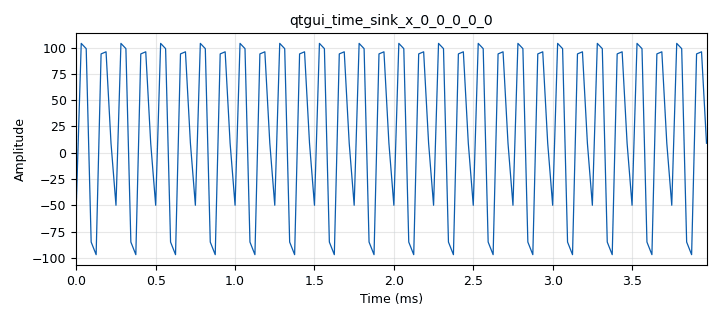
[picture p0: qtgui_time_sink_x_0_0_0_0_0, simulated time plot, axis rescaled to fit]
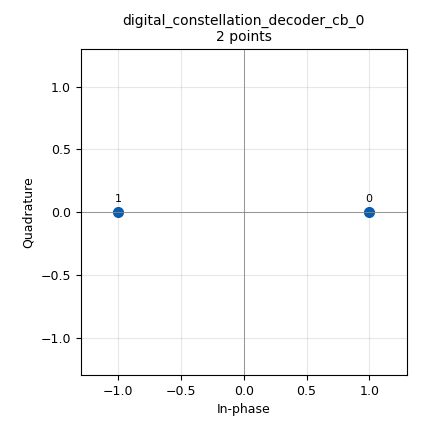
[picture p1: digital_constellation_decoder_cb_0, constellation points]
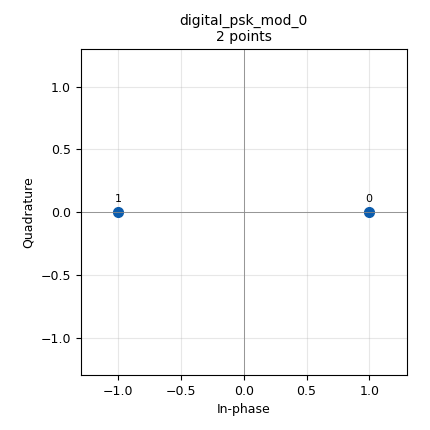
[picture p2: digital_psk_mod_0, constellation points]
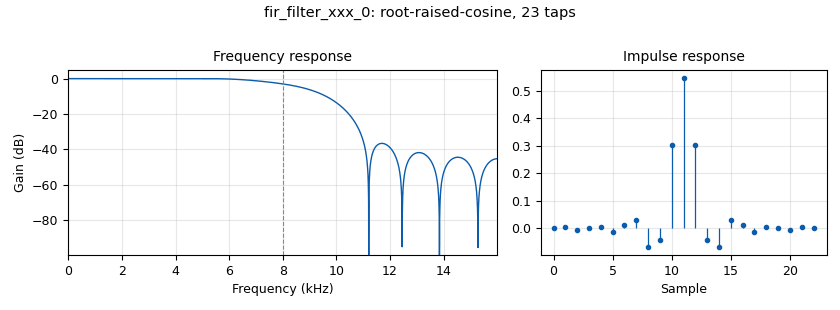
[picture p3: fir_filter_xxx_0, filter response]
<?xml version='1.0' encoding='utf-8'?>
<?grc format='1' created='3.7.8'?>
<flow_graph>
<block>
<key>options</key>
<param><key>id</key><value>top_block</value></param>
<param><key>generate_options</key><value>qt_gui</value></param>
<param><key>category</key><value>Custom</value></param>
</block>
<block>
<key>variable</key>
<param><key>id</key><value>delay</value></param>
<param><key>value</key><value>range_delay</value></param>
</block>
<block>
<key>variable</key>
<param><key>id</key><value>samp_rate</value></param>
<param><key>value</key><value>32000</value></param>
</block>
<block>
<key>variable_rrc_filter_taps</key>
<param><key>id</key><value>rrc</value></param>
<param><key>gain</key><value>1.0</value></param>
<param><key>samp_rate</key><value>samp_rate</value></param>
<param><key>sym_rate</key><value>samp_rate/2</value></param>
<param><key>alpha</key><value>0.35</value></param>
<param><key>ntaps</key><value>11*2</value></param>
</block>
<block>
<key>variable_qtgui_range</key>
<param><key>id</key><value>range_delay</value></param>
<param><key>value</key><value>1</value></param>
<param><key>start</key><value>0</value></param>
<param><key>stop</key><value>2</value></param>
<param><key>step</key><value>1</value></param>
<param><key>orient</key><value>Qt.Horizontal</value></param>
</block>
<block>
<key>digital_packet_headerparser_b</key>
<param><key>id</key><value>digital_packet_headerparser_b_0</value></param>
<param><key>header_formatter</key><value>digital.packet_header_default(32)</value></param>
</block>
<block>
<key>blocks_delay</key>
<param><key>id</key><value>blocks_delay_0</value></param>
<param><key>type</key><value>complex</value></param>
<param><key>delay</key><value>delay</value></param>
</block>
<block>
<key>blocks_complex_to_float</key>
<param><key>id</key><value>blocks_complex_to_float_0</value></param>
<param><key>_enabled</key><value>False</value></param>
</block>
<block>
<key>qtgui_time_sink_x</key>
<param><key>id</key><value>qtgui_time_sink_x_0</value></param>
<param><key>_enabled</key><value>False</value></param>
<param><key>type</key><value>float</value></param>
<param><key>size</key><value>1024</value></param>
<param><key>srate</key><value>samp_rate</value></param>
<param><key>nconnections</key><value>2</value></param>
<param><key>tr_mode</key><value>qtgui.TRIG_MODE_NORM</value></param>
<param><key>tr_level</key><value>0.5</value></param>
<param><key>tr_delay</key><value>0.001</value></param>
<param><key>label1</key><value></value></param>
<param><key>color1</key><value>"blue"</value></param>
<param><key>label2</key><value></value></param>
<param><key>color2</key><value>"red"</value></param>
</block>
<block>
<key>inets_frame_sync_cc</key>
<param><key>id</key><value>inets_frame_sync_cc_0</value></param>
<param><key>threshold</key><value>12</value></param>
<param><key>len_tag_key</key><value> "packet_len"</value></param>
</block>
<block>
<key>blocks_vector_source_x</key>
<param><key>id</key><value>blocks_vector_source_x_0_0_1_0</value></param>
<param><key>type</key><value>byte</value></param>
<param><key>vector</key><value>(1, 1, 1, 1, 1, 0, 0, 1, 1, 0, 1, 0, 1 ,0,0,0)</value></param>
<param><key>tags</key><value>""</value></param>
<param><key>repeat</key><value>True</value></param>
</block>
<block>
<key>fir_filter_xxx</key>
<param><key>id</key><value>fir_filter_xxx_0</value></param>
<param><key>type</key><value>ccf</value></param>
<param><key>decim</key><value>2</value></param>
<param><key>taps</key><value>rrc</value></param>
</block>
<block>
<key>blocks_throttle</key>
<param><key>id</key><value>blocks_throttle_0</value></param>
<param><key>type</key><value>complex</value></param>
<param><key>samples_per_second</key><value>samp_rate</value></param>
</block>
<block>
<key>blocks_unpacked_to_packed_xx</key>
<param><key>id</key><value>blocks_unpacked_to_packed_xx_0</value></param>
<param><key>type</key><value>byte</value></param>
<param><key>bits_per_chunk</key><value>1</value></param>
<param><key>endianness</key><value>gr.GR_MSB_FIRST</value></param>
</block>
<block>
<key>blocks_stream_to_tagged_stream</key>
<param><key>id</key><value>blocks_stream_to_tagged_stream_0_0</value></param>
<param><key>type</key><value>byte</value></param>
<param><key>packet_len</key><value>2</value></param>
<param><key>len_tag_key</key><value>"packet_len"</value></param>
</block>
<block>
<key>blocks_tag_debug</key>
<param><key>id</key><value>blocks_tag_debug_0_1</value></param>
<param><key>_enabled</key><value>False</value></param>
<param><key>type</key><value>byte</value></param>
<param><key>name</key><value>header</value></param>
</block>
<block>
<key>blocks_tag_debug</key>
<param><key>id</key><value>blocks_tag_debug_0_2</value></param>
<param><key>_enabled</key><value>False</value></param>
<param><key>type</key><value>byte</value></param>
<param><key>name</key><value>pay</value></param>
</block>
<block>
<key>blocks_tag_debug</key>
<param><key>id</key><value>blocks_tag_debug_0_0</value></param>
<param><key>_enabled</key><value>False</value></param>
<param><key>type</key><value>byte</value></param>
<param><key>name</key><value>sync</value></param>
</block>
<block>
<key>blocks_tag_debug</key>
<param><key>id</key><value>blocks_tag_debug_0</value></param>
<param><key>_enabled</key><value>False</value></param>
<param><key>type</key><value>byte</value></param>
<param><key>name</key><value>sum</value></param>
</block>
<block>
<key>digital_constellation_decoder_cb</key>
<param><key>id</key><value>digital_constellation_decoder_cb_0</value></param>
<param><key>constellation</key><value>bpsk_const</value></param>
</block>
<block>
<key>blocks_char_to_float</key>
<param><key>id</key><value>blocks_char_to_float_0</value></param>
<param><key>_enabled</key><value>False</value></param>
<param><key>scale</key><value>1</value></param>
</block>
<block>
<key>blocks_message_debug</key>
<param><key>id</key><value>blocks_message_debug_0</value></param>
</block>
<block>
<key>qtgui_time_sink_x</key>
<param><key>id</key><value>qtgui_time_sink_x_0_0_0</value></param>
<param><key>type</key><value>complex</value></param>
<param><key>size</key><value>1024</value></param>
<param><key>srate</key><value>samp_rate</value></param>
<param><key>nconnections</key><value>2</value></param>
<param><key>tr_mode</key><value>qtgui.TRIG_MODE_NORM</value></param>
<param><key>tr_level</key><value>0.5</value></param>
<param><key>tr_delay</key><value>0.001</value></param>
<param><key>label1</key><value></value></param>
<param><key>color1</key><value>"blue"</value></param>
<param><key>label2</key><value></value></param>
<param><key>color2</key><value>"red"</value></param>
<param><key>label3</key><value></value></param>
<param><key>color3</key><value>"green"</value></param>
<param><key>label4</key><value></value></param>
<param><key>color4</key><value>"black"</value></param>
</block>
<block>
<key>digital_psk_mod</key>
<param><key>id</key><value>digital_psk_mod_0</value></param>
<param><key>constellation_points</key><value>2</value></param>
<param><key>mod_code</key><value>"none"</value></param>
<param><key>differential</key><value>False</value></param>
<param><key>samples_per_symbol</key><value>2</value></param>
<param><key>excess_bw</key><value>0.35</value></param>
</block>
<block>
<key>variable_constellation</key>
<param><key>id</key><value>bpsk_const</value></param>
<param><key>sym_map</key><value>[0, 1]</value></param>
<param><key>const_points</key><value>[0.7+0j, -0.7+0j]</value></param>
<param><key>rot_sym</key><value>2</value></param>
<param><key>dims</key><value>1</value></param>
<param><key>precision</key><value>8</value></param>
</block>
<block>
<key>digital_header_payload_demux</key>
<param><key>id</key><value>digital_header_payload_demux_0</value></param>
<param><key>header_len</key><value>32</value></param>
<param><key>items_per_symbol</key><value>1</value></param>
<param><key>length_tag_key</key><value>"packet_len"</value></param>
<param><key>output_symbols</key><value>True</value></param>
<param><key>type</key><value>complex</value></param>
<param><key>timing_tag_key</key><value>""</value></param>
<param><key>samp_rate</key><value>int(samp_rate)</value></param>
<param><key>special_tags</key><value>""</value></param>
</block>
<block>
<key>digital_packet_headergenerator_bb</key>
<param><key>id</key><value>digital_packet_headergenerator_bb_0</value></param>
<param><key>header_formatter</key><value>digital.packet_header_default(32)</value></param>
<param><key>len_tag_key</key><value>"packet_len"</value></param>
</block>
<block>
<key>analog_random_source_x</key>
<param><key>id</key><value>analog_random_source_x_0</value></param>
<param><key>type</key><value>byte</value></param>
<param><key>min</key><value>0</value></param>
<param><key>max</key><value>255</value></param>
<param><key>num_samps</key><value>8</value></param>
<param><key>repeat</key><value>True</value></param>
</block>
<block>
<key>blocks_repack_bits_bb</key>
<param><key>id</key><value>blocks_repack_bits_bb_0_0</value></param>
<param><key>k</key><value>8</value></param>
<param><key>l</key><value>1</value></param>
<param><key>len_tag_key</key><value></value></param>
<param><key>endianness</key><value>gr.GR_LSB_FIRST</value></param>
</block>
<block>
<key>blocks_repack_bits_bb</key>
<param><key>id</key><value>blocks_repack_bits_bb_0</value></param>
<param><key>k</key><value>1</value></param>
<param><key>l</key><value>8</value></param>
<param><key>len_tag_key</key><value>"packet_len"</value></param>
<param><key>endianness</key><value>gr.GR_MSB_FIRST</value></param>
</block>
<block>
<key>blocks_stream_to_tagged_stream</key>
<param><key>id</key><value>blocks_stream_to_tagged_stream_0_0_0</value></param>
<param><key>type</key><value>byte</value></param>
<param><key>packet_len</key><value>256</value></param>
<param><key>len_tag_key</key><value>"packet_len"</value></param>
</block>
<block>
<key>blocks_tagged_stream_mux</key>
<param><key>id</key><value>blocks_tagged_stream_mux_0</value></param>
<param><key>type</key><value>byte</value></param>
<param><key>ninputs</key><value>3</value></param>
<param><key>lengthtagname</key><value>"packet_len"</value></param>
</block>
<block>
<key>digital_constellation_decoder_cb</key>
<param><key>id</key><value>digital_constellation_decoder_cb_0_0</value></param>
<param><key>constellation</key><value>bpsk_const</value></param>
</block>
<block>
<key>blocks_repack_bits_bb</key>
<param><key>id</key><value>blocks_repack_bits_bb_0_1_0</value></param>
<param><key>k</key><value>1</value></param>
<param><key>l</key><value>8</value></param>
<param><key>len_tag_key</key><value>"packet_len"</value></param>
<param><key>endianness</key><value>gr.GR_MSB_FIRST</value></param>
</block>
<block>
<key>blocks_char_to_float</key>
<param><key>id</key><value>blocks_char_to_float_0_0</value></param>
<param><key>scale</key><value>1</value></param>
</block>
<block>
<key>qtgui_time_sink_x</key>
<param><key>id</key><value>qtgui_time_sink_x_0_0_0_0</value></param>
<param><key>type</key><value>float</value></param>
<param><key>size</key><value>128</value></param>
<param><key>srate</key><value>samp_rate</value></param>
<param><key>tr_mode</key><value>qtgui.TRIG_MODE_NORM</value></param>
<param><key>tr_level</key><value>0.5</value></param>
<param><key>tr_delay</key><value>0.001</value></param>
<param><key>label1</key><value></value></param>
<param><key>color1</key><value>"blue"</value></param>
</block>
<block>
<key>qtgui_time_sink_x</key>
<param><key>id</key><value>qtgui_time_sink_x_0_0_0_0_0</value></param>
<param><key>type</key><value>float</value></param>
<param><key>size</key><value>128</value></param>
<param><key>srate</key><value>samp_rate</value></param>
<param><key>tr_mode</key><value>qtgui.TRIG_MODE_NORM</value></param>
<param><key>tr_level</key><value>0.5</value></param>
<param><key>tr_delay</key><value>0.001</value></param>
<param><key>label1</key><value></value></param>
<param><key>color1</key><value>"blue"</value></param>
</block>
<block>
<key>blocks_repack_bits_bb</key>
<param><key>id</key><value>blocks_repack_bits_bb_0_1</value></param>
<param><key>k</key><value>1</value></param>
<param><key>l</key><value>8</value></param>
<param><key>len_tag_key</key><value>"packet_len"</value></param>
<param><key>endianness</key><value>gr.GR_MSB_FIRST</value></param>
</block>
<block>
<key>blocks_char_to_float</key>
<param><key>id</key><value>blocks_char_to_float_0_0_0</value></param>
<param><key>scale</key><value>1</value></param>
</block>
<connection><source_block_id>blocks_vector_source_x_0_0_1_0</source_block_id><sink_block_id>blocks_unpacked_to_packed_xx_0</sink_block_id><source_key>0</source_key><sink_key>0</sink_key></connection>
<connection><source_block_id>blocks_tagged_stream_mux_0</source_block_id><sink_block_id>digital_psk_mod_0</sink_block_id><source_key>0</source_key><sink_key>0</sink_key></connection>
<connection><source_block_id>blocks_unpacked_to_packed_xx_0</source_block_id><sink_block_id>blocks_stream_to_tagged_stream_0_0</sink_block_id><source_key>0</source_key><sink_key>0</sink_key></connection>
<connection><source_block_id>blocks_stream_to_tagged_stream_0_0</source_block_id><sink_block_id>blocks_tagged_stream_mux_0</sink_block_id><source_key>0</source_key><sink_key>0</sink_key></connection>
<connection><source_block_id>inets_frame_sync_cc_0</source_block_id><sink_block_id>digital_header_payload_demux_0</sink_block_id><source_key>0</source_key><sink_key>0</sink_key></connection>
<connection><source_block_id>blocks_throttle_0</source_block_id><sink_block_id>blocks_delay_0</sink_block_id><source_key>0</source_key><sink_key>0</sink_key></connection>
<connection><source_block_id>digital_header_payload_demux_0</source_block_id><sink_block_id>digital_constellation_decoder_cb_0</sink_block_id><source_key>0</source_key><sink_key>0</sink_key></connection>
<connection><source_block_id>digital_constellation_decoder_cb_0</source_block_id><sink_block_id>digital_packet_headerparser_b_0</sink_block_id><source_key>0</source_key><sink_key>0</sink_key></connection>
<connection><source_block_id>digital_packet_headerparser_b_0</source_block_id><sink_block_id>digital_header_payload_demux_0</sink_block_id><source_key>header_data</source_key><sink_key>header_data</sink_key></connection>
<connection><source_block_id>blocks_char_to_float_0</source_block_id><sink_block_id>qtgui_time_sink_x_0</sink_block_id><source_key>0</source_key><sink_key>0</sink_key></connection>
<connection><source_block_id>inets_frame_sync_cc_0</source_block_id><sink_block_id>blocks_char_to_float_0</sink_block_id><source_key>1</source_key><sink_key>0</sink_key></connection>
<connection><source_block_id>inets_frame_sync_cc_0</source_block_id><sink_block_id>digital_header_payload_demux_0</sink_block_id><source_key>1</source_key><sink_key>1</sink_key></connection>
<connection><source_block_id>blocks_complex_to_float_0</source_block_id><sink_block_id>qtgui_time_sink_x_0</sink_block_id><source_key>0</source_key><sink_key>1</sink_key></connection>
<connection><source_block_id>inets_frame_sync_cc_0</source_block_id><sink_block_id>blocks_complex_to_float_0</sink_block_id><source_key>0</source_key><sink_key>0</sink_key></connection>
<connection><source_block_id>digital_packet_headerparser_b_0</source_block_id><sink_block_id>blocks_message_debug_0</sink_block_id><source_key>header_data</source_key><sink_key>print</sink_key></connection>
<connection><source_block_id>inets_frame_sync_cc_0</source_block_id><sink_block_id>qtgui_time_sink_x_0_0_0</sink_block_id><source_key>0</source_key><sink_key>1</sink_key></connection>
<connection><source_block_id>fir_filter_xxx_0</source_block_id><sink_block_id>qtgui_time_sink_x_0_0_0</sink_block_id><source_key>0</source_key><sink_key>0</sink_key></connection>
<connection><source_block_id>blocks_delay_0</source_block_id><sink_block_id>fir_filter_xxx_0</sink_block_id><source_key>0</source_key><sink_key>0</sink_key></connection>
<connection><source_block_id>fir_filter_xxx_0</source_block_id><sink_block_id>inets_frame_sync_cc_0</sink_block_id><source_key>0</source_key><sink_key>0</sink_key></connection>
<connection><source_block_id>blocks_stream_to_tagged_stream_0_0_0</source_block_id><sink_block_id>digital_packet_headergenerator_bb_0</sink_block_id><source_key>0</source_key><sink_key>0</sink_key></connection>
<connection><source_block_id>digital_psk_mod_0</source_block_id><sink_block_id>blocks_throttle_0</sink_block_id><source_key>0</source_key><sink_key>0</sink_key></connection>
<connection><source_block_id>blocks_tagged_stream_mux_0</source_block_id><sink_block_id>blocks_tag_debug_0</sink_block_id><source_key>0</source_key><sink_key>0</sink_key></connection>
<connection><source_block_id>blocks_stream_to_tagged_stream_0_0_0</source_block_id><sink_block_id>blocks_tag_debug_0_2</sink_block_id><source_key>0</source_key><sink_key>0</sink_key></connection>
<connection><source_block_id>digital_packet_headergenerator_bb_0</source_block_id><sink_block_id>blocks_repack_bits_bb_0</sink_block_id><source_key>0</source_key><sink_key>0</sink_key></connection>
<connection><source_block_id>blocks_repack_bits_bb_0</source_block_id><sink_block_id>blocks_tagged_stream_mux_0</sink_block_id><source_key>0</source_key><sink_key>1</sink_key></connection>
<connection><source_block_id>blocks_repack_bits_bb_0</source_block_id><sink_block_id>blocks_tag_debug_0_1</sink_block_id><source_key>0</source_key><sink_key>0</sink_key></connection>
<connection><source_block_id>blocks_stream_to_tagged_stream_0_0</source_block_id><sink_block_id>blocks_tag_debug_0_0</sink_block_id><source_key>0</source_key><sink_key>0</sink_key></connection>
<connection><source_block_id>digital_header_payload_demux_0</source_block_id><sink_block_id>digital_constellation_decoder_cb_0_0</sink_block_id><source_key>1</source_key><sink_key>0</sink_key></connection>
<connection><source_block_id>analog_random_source_x_0</source_block_id><sink_block_id>blocks_repack_bits_bb_0_0</sink_block_id><source_key>0</source_key><sink_key>0</sink_key></connection>
<connection><source_block_id>blocks_repack_bits_bb_0_0</source_block_id><sink_block_id>blocks_stream_to_tagged_stream_0_0_0</sink_block_id><source_key>0</source_key><sink_key>0</sink_key></connection>
<connection><source_block_id>blocks_stream_to_tagged_stream_0_0_0</source_block_id><sink_block_id>blocks_repack_bits_bb_0_1</sink_block_id><source_key>0</source_key><sink_key>0</sink_key></connection>
<connection><source_block_id>blocks_repack_bits_bb_0_1</source_block_id><sink_block_id>blocks_tagged_stream_mux_0</sink_block_id><source_key>0</source_key><sink_key>2</sink_key></connection>
<connection><source_block_id>digital_constellation_decoder_cb_0_0</source_block_id><sink_block_id>blocks_repack_bits_bb_0_1_0</sink_block_id><source_key>0</source_key><sink_key>0</sink_key></connection>
<connection><source_block_id>blocks_repack_bits_bb_0_1_0</source_block_id><sink_block_id>blocks_char_to_float_0_0</sink_block_id><source_key>0</source_key><sink_key>0</sink_key></connection>
<connection><source_block_id>blocks_char_to_float_0_0</source_block_id><sink_block_id>qtgui_time_sink_x_0_0_0_0</sink_block_id><source_key>0</source_key><sink_key>0</sink_key></connection>
<connection><source_block_id>blocks_char_to_float_0_0_0</source_block_id><sink_block_id>qtgui_time_sink_x_0_0_0_0_0</sink_block_id><source_key>0</source_key><sink_key>0</sink_key></connection>
<connection><source_block_id>blocks_repack_bits_bb_0_1</source_block_id><sink_block_id>blocks_char_to_float_0_0_0</sink_block_id><source_key>0</source_key><sink_key>0</sink_key></connection>
</flow_graph>
